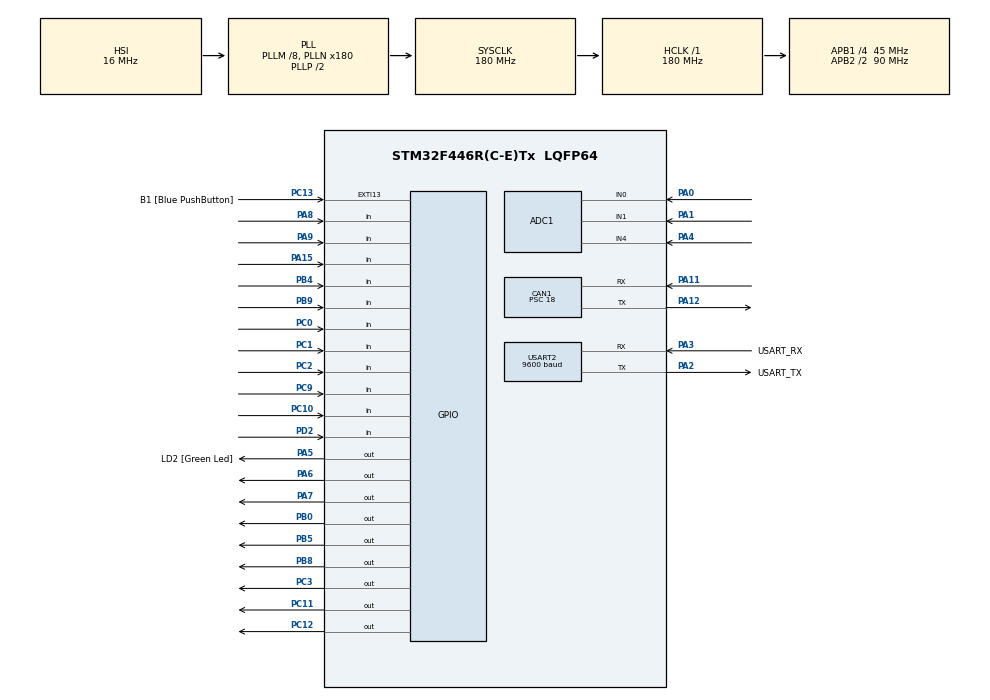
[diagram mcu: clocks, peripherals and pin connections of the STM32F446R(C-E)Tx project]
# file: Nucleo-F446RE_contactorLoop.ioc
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ADC1.Channel-0\#ChannelRegularConversion=ADC_CHANNEL_0
ADC1.Channel-1\#ChannelRegularConversion=ADC_CHANNEL_1
ADC1.Channel-2\#ChannelRegularConversion=ADC_CHANNEL_4
ADC1.NbrOfConversion=3
ADC1.NbrOfConversionFlag=1
ADC1.Rank-0\#ChannelRegularConversion=1
ADC1.Rank-1\#ChannelRegularConversion=2
ADC1.Rank-2\#ChannelRegularConversion=3
ADC1.SamplingTime-0\#ChannelRegularConversion=ADC_SAMPLETIME_3CYCLES
ADC1.SamplingTime-1\#ChannelRegularConversion=ADC_SAMPLETIME_3CYCLES
ADC1.SamplingTime-2\#ChannelRegularConversion=ADC_SAMPLETIME_3CYCLES
ADC1.master=1
CAN1.BS1=CAN_BS1_2TQ
CAN1.BS2=CAN_BS2_2TQ
CAN1.CalculateBaudRate=500000
CAN1.CalculateTimeBit=2000
CAN1.CalculateTimeQuantum=400.0
CAN1.Prescaler=18
Dma.ADC1.0.Direction=DMA_PERIPH_TO_MEMORY
Dma.ADC1.0.FIFOMode=DMA_FIFOMODE_DISABLE
Dma.ADC1.0.Instance=DMA2_Stream0
Dma.ADC1.0.MemDataAlignment=DMA_MDATAALIGN_HALFWORD
Dma.ADC1.0.MemInc=DMA_MINC_ENABLE
Dma.ADC1.0.Mode=DMA_CIRCULAR
Dma.ADC1.0.PeriphDataAlignment=DMA_PDATAALIGN_HALFWORD
Dma.ADC1.0.PeriphInc=DMA_PINC_DISABLE
Dma.ADC1.0.Priority=DMA_PRIORITY_LOW
Dma.Request0=ADC1
Mcu.Family=STM32F4
Mcu.Name=STM32F446R(C-E)Tx
Mcu.Package=LQFP64
NVIC.CAN1_RX0_IRQn=true\:0\:0\:false\:false\:true\:true\:true\:true
NVIC.DMA2_Stream0_IRQn=true\:0\:0\:false\:false\:true\:false\:true\:true
NVIC.PriorityGroup=NVIC_PRIORITYGROUP_0
PA0-WKUP.Signal=ADCx_IN0
PA1.Signal=ADCx_IN1
PA11.Mode=CAN_Activate
PA11.Signal=CAN1_RX
PA12.Mode=CAN_Activate
PA12.Signal=CAN1_TX
PA13.GPIO_Label=TMS
PA13.Mode=Serial_Wire
PA13.Signal=SYS_JTMS-SWDIO
PA14.GPIO_Label=TCK
PA14.Mode=Serial_Wire
PA14.Signal=SYS_JTCK-SWCLK
PA15.Signal=GPIO_Input
PA2.GPIO_Label=USART_TX
PA2.Mode=Asynchronous
PA2.Signal=USART2_TX
PA3.GPIO_Label=USART_RX
PA3.Mode=Asynchronous
PA3.Signal=USART2_RX
PA4.Signal=ADCx_IN4
PA5.GPIO_Label=LD2 [Green Led]
PA5.Signal=GPIO_Output
PA6.Signal=GPIO_Output
PA7.Signal=GPIO_Output
PA8.Signal=GPIO_Input
PA9.Signal=GPIO_Input
PB0.Signal=GPIO_Output
PB3.GPIO_Label=SWO
PB3.Signal=SYS_JTDO-SWO
PB4.Signal=GPIO_Input
PB5.Signal=GPIO_Output
PB8.Signal=GPIO_Output
PB9.Signal=GPIO_Input
PC0.Signal=GPIO_Input
PC1.Signal=GPIO_Input
PC10.Signal=GPIO_Input
PC11.Signal=GPIO_Output
PC12.Signal=GPIO_Output
PC13.GPIO_Label=B1 [Blue PushButton]
PC13.GPIO_ModeDefaultEXTI=GPIO_MODE_IT_FALLING
PC13.Signal=GPXTI13
PC14-OSC32_IN.Mode=LSE-External-Oscillator
PC14-OSC32_IN.Signal=RCC_OSC32_IN
PC15-OSC32_OUT.Mode=LSE-External-Oscillator
PC15-OSC32_OUT.Signal=RCC_OSC32_OUT
PC2.Signal=GPIO_Input
PC3.Signal=GPIO_Output
PC9.Signal=GPIO_Input
PD2.Signal=GPIO_Input
PH0-OSC_IN.Signal=RCC_OSC_IN
PH1-OSC_OUT.Signal=RCC_OSC_OUT
ProjectManager.HeapSize=0x200
ProjectManager.StackSize=0x400
ProjectManager.TargetToolchain=STM32CubeIDE
RCC.48MHZClocksFreq_Value=84000000
RCC.AHBFreq_Value=180000000
RCC.APB1CLKDivider=RCC_HCLK_DIV4
RCC.APB1Freq_Value=45000000
RCC.APB1TimFreq_Value=90000000
RCC.APB2CLKDivider=RCC_HCLK_DIV2
RCC.APB2Freq_Value=90000000
RCC.APB2TimFreq_Value=180000000
RCC.CortexFreq_Value=180000000
RCC.FLatency-AdvancedSettings=FLASH_LATENCY_5
RCC.HCLKFreq_Value=180000000
RCC.HSE_VALUE=8000000
RCC.HSI_VALUE=16000000
RCC.LSE_Drive_Capability=RCC_LSEDRIVE_LOW
RCC.LSE_Drive_CapabilityArg=RCC_LSEDRIVE_LOW
RCC.MSIAutoCalibration=ENABLED
RCC.MSICalibrationValue=0
RCC.PLLM=8
RCC.PLLN=180
RCC.SYSCLKFreq_VALUE=180000000
RCC.SYSCLKSource=RCC_SYSCLKSOURCE_PLLCLK
RCC.USBFreq_Value=180000000
RCC.VCOOutputFreq_Value=360000000
SH.ADCx_IN0.0=ADC1_IN0,IN0
SH.ADCx_IN1.0=ADC1_IN1,IN1
SH.ADCx_IN4.0=ADC1_IN4,IN4
USART2.BaudRate=9600
USART2.VirtualMode=VM_ASYNC
board=NUCLEO-F446RE

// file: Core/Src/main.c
/* USER CODE BEGIN Header */
/**
  ******************************************************************************
  * @file           : main.c
  * @brief          : Main program body
  ******************************************************************************
  * @attention
  *
  * Copyright (c) 2024 STMicroelectronics.
  * All rights reserved.
  *
  * This software is licensed under terms that can be found in the LICENSE file
  * in the root directory of this software component.
  * If no LICENSE file comes with this software, it is provided AS-IS.
  *
  ******************************************************************************
  */
/* USER CODE END Header */
#include "main.h"

/* USER CODE BEGIN Includes */
#include <stdio.h>
#include <stdbool.h>
/* USER CODE END Includes */

/* USER CODE BEGIN PTD */
// Debug (1) or Active (0) Mode
#define DEBUG					1

// Define Contactor GPIO and GPIO PINs
#define POS_LSD_OUTPUT_GPIO		GPIOB
#define POS_LSD_OUTPUT_PIN		GPIO_PIN_0
#define POS_LSD_INPUT_GPIO		GPIOC
#define POS_LSD_INPUT_PIN		GPIO_PIN_1

#define POS_HSD_OUTPUT_GPIO		GPIOC
#define POS_HSD_OUTPUT_PIN		GPIO_PIN_3
#define POS_HSD_INPUT_GPIO		GPIOC
#define POS_HSD_INPUT_PIN		GPIO_PIN_2

#define POS_CON_INPUT_GPIO		GPIOC
#define POS_CON_INPUT_PIN		GPIO_PIN_0

#define ANALOG_INPUT_GPIO		GPIOA
#define ANALOG_INPUT_PIN		GPIO_PIN_0

#define NEG_LSD_OUTPUT_GPIO		GPIOC
#define NEG_LSD_OUTPUT_PIN		GPIO_PIN_12
#define NEG_LSD_INPUT_GPIO		GPIOC
#define NEG_LSD_INPUT_PIN		GPIO_PIN_10

#define NEG_HSD_OUTPUT_GPIO		GPIOB
#define NEG_HSD_OUTPUT_PIN		GPIO_PIN_8
#define NEG_HSD_INPUT_GPIO		GPIOB
#define NEG_HSD_INPUT_PIN		GPIO_PIN_9

#define NEG_CON_INPUT_GPIO		GPIOA
#define NEG_CON_INPUT_PIN		GPIO_PIN_15

#define PRE_LSD_OUTPUT_GPIO		GPIOC
#define PRE_LSD_OUTPUT_PIN		GPIO_PIN_11
#define PRE_LSD_INPUT_GPIO		GPIOD
#define PRE_LSD_INPUT_PIN		GPIO_PIN_2

#define PRE_HSD_OUTPUT_GPIO		GPIOB
#define PRE_HSD_OUTPUT_PIN		GPIO_PIN_5
#define PRE_HSD_INPUT_GPIO		GPIOB
#define PRE_HSD_INPUT_PIN		GPIO_PIN_4

#define PRE_CON_INPUT_GPIO		GPIOC
#define PRE_CON_INPUT_PIN		GPIO_PIN_9

// Define Constants (Fault Conditions, Limits & Other Conditions)
#define SERIES_MOD				1	  // # of Modules in Series
#define SERIES_CELL				12    // # of Cells in Series
#define MAX_VOLT				4.20  // Maximum Voltage from a Cell
#define MIN_VOLT				2.85  // Minimum Voltage from a Cell
#define MIN_TEMP 				0     // Minimum (surface) Temperature of a cell
#define MAX_TEMP 				60    // Maximum (surface) Temperature of a cell
#define TSREF_ADC				5	  // Reference voltage for thermistor
#define TS_R1					10000 // Reference series resistance for themistor

const int8_t PRE_CHG_PACK_VOLT = 3; //SERIES_MOD * SERIES_CELL * MAX_VOLT;
const float known_resistance = 220.0; //10000.0;  // series resistance in Ohms for thermistor

// Define the Cell
typedef struct {
	// ID
    uint8_t module; // Module Number
    uint8_t cell;   // Cell Number

    // State Estimations
    uint32_t SOC; // State of Charge
    uint32_t SOH; // State of Health
    uint32_t SOP; // State of Power

    // Physics
    uint32_t V; // Voltage
    uint32_t I; // Current
    uint32_t T; // Temperature

    // Faults
    bool power_rail;
    bool comm;
    bool over_voltage;
    bool under_voltage;
    bool over_temp;
    bool under_temp;
    bool over_current;
    bool under_current;
} Cell;

typedef enum {
    POWER_RAIL_FAULT = 1 << 7,
    COMM_FAULT = 1 << 6,
    OVER_VOLTAGE_FAULT = 1 << 5,
    UNDER_VOLTAGE_FAULT = 1 << 4,
    OVER_TEMP_FAULT = 1 << 3,
    UNDER_TEMP_FAULT = 1 << 2,
    OVER_CURRENT_FAULT = 1 << 1,
    UNDER_CURRENT_FAULT = 1
} CellFault;
/* USER CODE END PTD */

/* USER CODE BEGIN PD */
uint16_t getCellFaults(Cell* cell){
    uint16_t result = 0;

    // Get the lower 4 bits of module and cell
    result |= (cell->module & 0x0F) << 12;
    result |= (cell->cell & 0x0F) << 8;

    // Concatenate all the booleans
    result |= (cell->power_rail & 0x01) << 7;
    result |= (cell->comm & 0x01) << 6;
    result |= (cell->over_voltage & 0x01) << 5;
    result |= (cell->under_voltage & 0x01) << 4;
    result |= (cell->over_temp & 0x01) << 3;
    result |= (cell->under_temp & 0x01) << 2;
    result |= (cell->over_current & 0x01) << 1;
    result |= (cell->under_current & 0x01);

    return result;
}

void setCellFaults(Cell* cell, CellFault value) {
    // Extract the boolean values
    if (value & POWER_RAIL_FAULT) cell->power_rail = true;
    if (value & COMM_FAULT) cell->comm = true;
    if (value & OVER_VOLTAGE_FAULT) cell->over_voltage = true;
    if (value & UNDER_VOLTAGE_FAULT) cell->under_voltage = true;
    if (value & OVER_TEMP_FAULT) cell->over_temp = true;
    if (value & UNDER_TEMP_FAULT) cell->under_temp = true;
    if (value & OVER_CURRENT_FAULT) cell->over_current = true;
    if (value & UNDER_CURRENT_FAULT) cell->under_current = true;
}

void clearCellFault(Cell* cell, CellFault fault) {
    // Clear the corresponding fault
    switch (fault) {
        case POWER_RAIL_FAULT:
            cell->power_rail = false;
            break;
        case COMM_FAULT:
            cell->comm = false;
            break;
        case OVER_VOLTAGE_FAULT:
            cell->over_voltage = false;
            break;
        case UNDER_VOLTAGE_FAULT:
            cell->under_voltage = false;
            break;
        case OVER_TEMP_FAULT:
            cell->over_temp = false;
            break;
        case UNDER_TEMP_FAULT:
            cell->under_temp = false;
            break;
        case OVER_CURRENT_FAULT:
            cell->over_current = false;
            break;
        case UNDER_CURRENT_FAULT:
            cell->under_current = false;
            break;
    }
}

/* USER CODE END PD */

ADC_HandleTypeDef hadc1;
DMA_HandleTypeDef hdma_adc1;

CAN_HandleTypeDef hcan1;

UART_HandleTypeDef huart2;

void SystemClock_Config(void);
static void MX_GPIO_Init(void);
static void MX_DMA_Init(void);
static void MX_USART2_UART_Init(void);
static void MX_ADC1_Init(void);
static void MX_CAN1_Init(void);

/* USER CODE BEGIN 0 */
CAN_TxHeaderTypeDef TxHeader;
CAN_RxHeaderTypeDef RxHeader;

uint8_t TxData[8];
uint8_t RxData[8];

uint32_t TxMailbox;

uint16_t cell_analog_values[3];
char msg[30];  // message box for analog values

float pre_charge_voltage; 	 // Measurement for startupSequence
float cell_voltage; 	  	 // Measurement for checkVIT
float cell_current; 	  	 // Calculated current from checkVIT
float thermistor_resistance; // Calculated unknown resistance from checkVIT
float cell_vref; 			 // measurement voltage for vref
float soc; 					 // State of Charge
float sop; 					 // State of Power

int startupSequence(void){

	//
	// Negative Contactor Enable
	//

	// Send high Signal to NEG_LSD_OUTPUT
	HAL_GPIO_WritePin(NEG_LSD_OUTPUT_GPIO, NEG_LSD_OUTPUT_PIN, 1);

	// Read NEG_LSD_INPUT
		// If high, proceed, else EPO/return -1
		if (!HAL_GPIO_ReadPin(NEG_LSD_INPUT_GPIO, NEG_LSD_INPUT_PIN)){ return -1; }

	// Send high Signal to NEG_HSD_OUTPUT
	HAL_GPIO_WritePin(NEG_HSD_OUTPUT_GPIO, NEG_HSD_OUTPUT_PIN, 1);

	// Read NEG_HSD_INPUT
		// If high, proceed, else EPO/return -1
		if (!HAL_GPIO_ReadPin(NEG_LSD_INPUT_GPIO, NEG_LSD_INPUT_PIN)){ return -1; }

	// Read NEG_CON_OUTPUT
		// If connected (low for nand, high for and, between HSD and LSD), proceed, else EPO/return -1
		if (HAL_GPIO_ReadPin(NEG_CON_INPUT_GPIO, NEG_CON_INPUT_PIN)){ return -1; }

	//
	// Pre Charge Contactor Enable
	//

	// Send high Signal to PRE_LSD_OUTPUT
	HAL_GPIO_WritePin(PRE_LSD_OUTPUT_GPIO, PRE_LSD_OUTPUT_PIN, 1);

	// Read PRE_LSD_INPUT
		// If high, proceed, else EPO/return -1
		if (!HAL_GPIO_ReadPin(PRE_LSD_INPUT_GPIO, PRE_LSD_INPUT_PIN)){ return -1; }

	// Send high Signal to PRE_HSD_OUTPUT
	HAL_GPIO_WritePin(PRE_HSD_OUTPUT_GPIO, PRE_HSD_OUTPUT_PIN, 1);

	// Read PRE_HSD_INPUT
		// If high, proceed, else EPO/return -1
		if (!HAL_GPIO_ReadPin(PRE_HSD_INPUT_GPIO, PRE_HSD_INPUT_PIN)){ return -1; }

	// Read PRE_CON_OUTPUT
		// If connected (low for nand, high for and, between HSD and LSD), proceed, else EPO/return 0
		if (HAL_GPIO_ReadPin(PRE_CON_INPUT_GPIO, PRE_CON_INPUT_PIN)){ return -1; }

	// Read voltage at ANALOG_INPUT
		// If 90% of pack voltage after time t proceed, else EPO/return -1
		while (pre_charge_voltage < PRE_CHG_PACK_VOLT) {
		    HAL_ADC_Start_DMA(&hadc1,(uint32_t *) cell_analog_values, 3); // Start Analog to Digital conversion
		    HAL_ADC_PollForConversion(&hadc1, 1000);					 // Poll Value Read
		    pre_charge_voltage = (float)cell_analog_values[0]/1000;   // Store Value in (mV) form (V)

		    // Convert the integer part to a hexadecimal string
		    uint16_t intPart = (uint16_t)pre_charge_voltage;
		    char IntPartStr[3];
		    sprintf(IntPartStr, "%02X", intPart);

		    // Convert the fractional part to a hexadecimal string
		    uint16_t fracPart = (uint16_t)((pre_charge_voltage - intPart) * 100);
		    char FracPartStr[3];
		    sprintf(FracPartStr, "%02X", fracPart);

		    // Write to UART Over Temp Fault in the desired format
		    char ResultStr[8];
		    sprintf(ResultStr, "%s.%s\r\n", IntPartStr, FracPartStr);
		    HAL_UART_Transmit(&huart2, (uint8_t*)ResultStr, sizeof(ResultStr), 100);

		    // Delay for debug
		    HAL_Delay(1000);
		}

	//
	// Positive Contactor Enable
	//

	// Send high Signal to POS_LSD_OUTPUT
	HAL_GPIO_WritePin(POS_LSD_OUTPUT_GPIO, POS_LSD_OUTPUT_PIN, 1);

	// Read POS_LSD_INPUT
		// If high, proceed, else EPO/return -1
		if (!HAL_GPIO_ReadPin(POS_LSD_INPUT_GPIO, POS_LSD_INPUT_PIN)){ return -1; }

	// Send high Signal to POS_HSD_OUTPUT
	HAL_GPIO_WritePin(POS_HSD_OUTPUT_GPIO, POS_HSD_OUTPUT_PIN, 1);

	// Read POS_HSD_INPUT
		// If high, proceed, else EPO/return -1
		if (!HAL_GPIO_ReadPin(POS_HSD_INPUT_GPIO, POS_HSD_INPUT_PIN)){ return -1; }

	// Read POS_CON_OUTPUT
		// If connected (low for nand, high for and, between HSD and LSD), proceed, else EPO/return 0
		if (HAL_GPIO_ReadPin(POS_CON_INPUT_GPIO, POS_CON_INPUT_PIN)){ return -1; }

	//
	// Pre Charge Contactor Disable
	//

	// Send low Signal to PRE_HSD_OUTPUT
	HAL_GPIO_WritePin(PRE_HSD_OUTPUT_GPIO, PRE_HSD_OUTPUT_PIN, 0);

	// Read PRE_HSD_INPUT
		// If low, proceed, else EPO/return -1
		if (HAL_GPIO_ReadPin(PRE_HSD_INPUT_GPIO, PRE_HSD_INPUT_PIN)){ return -1; }

	// Send low Signal to PRE_LSD_OUTPUT
	HAL_GPIO_WritePin(PRE_LSD_OUTPUT_GPIO, PRE_LSD_OUTPUT_PIN, 0);

	// Read PRE_LSD_INPUT
		// If low, proceed, else EPO/return -1
		if (HAL_GPIO_ReadPin(PRE_LSD_INPUT_GPIO, PRE_LSD_INPUT_PIN)){ return -1; }

	// Read PRE_CON_OUTPUT
		// If connected (low for nand, high for and, between HSD and LSD), proceed, else EPO/return 0
		if (!HAL_GPIO_ReadPin(PRE_CON_INPUT_GPIO, PRE_CON_INPUT_PIN)){ return -1; }

	// Start-up Sequence Concluded Successfully
	return 0;
}

void checkStatusTransmit(Cell* cell){

	// append id, mod and cell number to sensor reading
    HAL_ADC_Start_DMA(&hadc1,(uint32_t *) cell_analog_values, 3); // Start Analog to Digital conversion
	HAL_ADC_PollForConversion(&hadc1, 1000);					 // Poll Value Read
	cell_voltage = (float)cell_analog_values[1]/1000;   // Store Value in (mV) form (V)
	cell_vref = (float)cell_analog_values[2]/1000;

	// calculate I = cell_voltage / known R
	cell_current = cell_voltage / known_resistance;

	// calculate thermistor R = (Vref - V) /I
	thermistor_resistance = (cell_vref - cell_voltage) / cell_current;

	// Convert module number to hex
	uint16_t mod_num = (uint16_t)cell->module;
	char mod_numStr[2];
	sprintf(mod_numStr, "%1X", mod_num);

	// Convert cell number to hex
	uint16_t cell_num = (uint16_t)cell->cell;
	char cell_numStr[2];
	sprintf(cell_numStr, "%1X", cell_num);

    // Get the Cell Faults
	uint16_t Fault;
    Fault = getCellFaults(cell);

    // Convert the result to a hexadecimal string
    char FaultStr[5]; // Buffer to hold the result string
    sprintf(FaultStr, "%04X", Fault);

	// Write to UART
	char FaultResultStr[7];
	sprintf(FaultResultStr, "7%s\r\n", FaultStr);
	HAL_UART_Transmit(&huart2, (uint8_t*)FaultResultStr, sizeof(FaultResultStr), 100);

	// Convert the integer part to a hexadecimal string
	uint16_t intPart = (uint16_t)cell_voltage;
	char IntPartStr[3];
	sprintf(IntPartStr, "%02X", intPart);

	// Convert the fractional part to a hexadecimal string
	uint16_t fracPart = (uint16_t)((cell_voltage - intPart) * 100);
	char FracPartStr[3];
	sprintf(FracPartStr, "%02X", fracPart);

	// Write to UART
	char ResultStr[11];
	sprintf(ResultStr, "1%s%s%s.%s\r\n", mod_numStr, cell_numStr, IntPartStr, FracPartStr);
	HAL_UART_Transmit(&huart2, (uint8_t*)ResultStr, sizeof(ResultStr), 100);

	// Convert the integer part to a hexadecimal string
	intPart = (uint16_t)cell_current;
	sprintf(IntPartStr, "%02X", intPart);

	// Convert the fractional part to a hexadecimal string
	fracPart = (uint16_t)((cell_current - intPart) * 100);
	sprintf(FracPartStr, "%02X", fracPart);

	// Write to UART
	sprintf(ResultStr, "2%s%s%s.%s\r\n", mod_numStr, cell_numStr, IntPartStr, FracPartStr);
	HAL_UART_Transmit(&huart2, (uint8_t*)ResultStr, sizeof(ResultStr), 100);

	// TODO: determine temp based off linear eq of degrees vs ohms
	// Convert the integer part to a hexadecimal string
	intPart = (uint16_t)thermistor_resistance;
	sprintf(IntPartStr, "%02X", intPart);

	// Convert the fractional part to a hexadecimal string
	fracPart = (uint16_t)((thermistor_resistance - intPart) * 100);
	sprintf(FracPartStr, "%02X", fracPart);

	// Write to UART
	sprintf(ResultStr, "3%s%s%s.%s\r\n", mod_numStr, cell_numStr, IntPartStr, FracPartStr);
	HAL_UART_Transmit(&huart2, (uint8_t*)ResultStr, sizeof(ResultStr), 100);

	// TODO: send V and I to the model to get (5) SOC and (6) SOP
	// TODO: Transfer inference functions here to get SOC

	// Convert the integer part to a hexadecimal string
	intPart = (uint16_t)soc;
	sprintf(IntPartStr, "%02X", intPart);

	// Convert the fractional part to a hexadecimal string
	fracPart = (uint16_t)((soc - intPart) * 100);
	sprintf(FracPartStr, "%02X", fracPart);

	// Write to UART
	sprintf(ResultStr, "5%s%s%s.%s\r\n", mod_numStr, cell_numStr, IntPartStr, FracPartStr);
	HAL_UART_Transmit(&huart2, (uint8_t*)ResultStr, sizeof(ResultStr), 100);

	// TODO: Figure out how to calculate SOP

	// Convert the integer part to a hexadecimal string
	intPart = (uint16_t)sop;
	sprintf(IntPartStr, "%02X", intPart);

	// Convert the fractional part to a hexadecimal string
	fracPart = (uint16_t)((sop - intPart) * 100);
	sprintf(FracPartStr, "%02X", fracPart);

	// Write to UART
	sprintf(ResultStr, "6%s%s%s.%s\r\n", mod_numStr, cell_numStr, IntPartStr, FracPartStr);
	HAL_UART_Transmit(&huart2, (uint8_t*)ResultStr, sizeof(ResultStr), 100);

	// Delay for debug
	HAL_Delay(1000);

	return 0;
}

/* USER CODE END 0 */

int main(void)
{

  /* MCU Configuration--------------------------------------------------------*/

  /* Reset of all peripherals, Initializes the Flash interface and the Systick. */
  HAL_Init();

  /* USER CODE BEGIN Init */
  // Fault
  uint16_t Fault;

	// Define the Cell
  Cell cell0 = {
	.module = 1, // Module Number
	.cell = 2,   // Cell Number
	.SOC = 0, // State of Charge
	.SOH = 0, // State of Health
	.SOP = 0, // State of Power
	.V = 0, // Voltage
	.I = 0, // Current
	.T = 0, // Temperature
	.power_rail = false,
	.comm = false,
	.over_voltage = false,
	.under_voltage = false,
	.over_temp = false,
	.under_temp = false,
	.over_current = false,
	.under_current = false
	};

  /* USER CODE END Init */

  /* Configure the system clock */
  SystemClock_Config();

  /* Initialize all configured peripherals */
  MX_GPIO_Init();
  MX_DMA_Init();
  MX_USART2_UART_Init();
  MX_ADC1_Init();
  MX_CAN1_Init();
  /* USER CODE BEGIN 2 */
  HAL_CAN_Start(&hcan1);

  // Activate the notification
  HAL_CAN_ActivateNotification(&hcan1, CAN_IT_RX_FIFO0_MSG_PENDING);

  TxHeader.DLC = 2; // data length
  TxHeader.IDE = CAN_ID_STD;
  TxHeader.RTR = CAN_RTR_DATA;
  TxHeader.StdId = 0x446; // ID

  // Initializing
  HAL_GPIO_WritePin(GPIOA, GPIO_PIN_5, 1);
  HAL_Delay(1000);
  HAL_GPIO_WritePin(GPIOA, GPIO_PIN_5, 0);

  int success;
  success = startupSequence();

  if (success == -1) { HAL_GPIO_WritePin(GPIOA, GPIO_PIN_5, 1); }
  /* USER CODE END 2 */

  /* Infinite loop */
  while (1)
  {

    /* USER CODE BEGIN 3 */
	  // TODO: loop through every cell in the pack for every module
	  checkStatusTransmit(&cell0);

	  if (HAL_GPIO_ReadPin(GPIOA, GPIO_PIN_9) && !HAL_GPIO_ReadPin(GPIOA, GPIO_PIN_8)){
		  // Turn ON LED
		  HAL_GPIO_WritePin(GPIOA, GPIO_PIN_6, 1);
		  HAL_Delay(100);

		  // Set the Cell Over Temp Fault
		  setCellFaults(&cell0, OVER_TEMP_FAULT);

		  // Get the Cell Over Temp Fault
		  Fault = getCellFaults(&cell0);

		  // Convert the result to a hexadecimal string
		  char FaultStr[6]; // Buffer to hold the result string
		  sprintf(FaultStr, "%05X", Fault);

		  // Write to CAN Over Temp Fault
		  HAL_CAN_AddTxMessage(&hcan1, &TxHeader, FaultStr, &TxMailbox);

		  // Clear the Cell Over Current Fault
		  clearCellFault(&cell0, OVER_CURRENT_FAULT);

		  // Turn OFF LED
		  HAL_GPIO_WritePin(GPIOA, GPIO_PIN_6, 0);
	  }

	  if (HAL_GPIO_ReadPin(GPIOA, GPIO_PIN_8) && !HAL_GPIO_ReadPin(GPIOA, GPIO_PIN_9)){
		  // Turn ON LED
		  HAL_GPIO_WritePin(GPIOA, GPIO_PIN_7, 1);
		  HAL_Delay(100);

		  // Set the Cell Over Current Fault
		  setCellFaults(&cell0, OVER_CURRENT_FAULT);

		  // Get the Cell Over Current Fault
		  Fault = getCellFaults(&cell0);

		  // Convert the result to a hexadecimal string
		  char FaultStr[6]; // Buffer to hold the result string
		  sprintf(FaultStr, "%05X", Fault);

		  // Write to CAN Over Current Fault
		  HAL_CAN_AddTxMessage(&hcan1, &TxHeader, FaultStr, &TxMailbox);

		  // Clear the Cell Over Temp Fault
		  clearCellFault(&cell0, OVER_TEMP_FAULT);

		  // Turn OFF LED
		  HAL_GPIO_WritePin(GPIOA, GPIO_PIN_7, 0);
	  }

  }
  /* USER CODE END 3 */
}

void SystemClock_Config(void)
{
  RCC_OscInitTypeDef RCC_OscInitStruct = {0};
  RCC_ClkInitTypeDef RCC_ClkInitStruct = {0};

  /** Configure the main internal regulator output voltage
  */
  __HAL_RCC_PWR_CLK_ENABLE();
  __HAL_PWR_VOLTAGESCALING_CONFIG(PWR_REGULATOR_VOLTAGE_SCALE1);

  /** Initializes the RCC Oscillators according to the specified parameters
  * in the RCC_OscInitTypeDef structure.
  */
  RCC_OscInitStruct.OscillatorType = RCC_OSCILLATORTYPE_HSI;
  RCC_OscInitStruct.HSIState = RCC_HSI_ON;
  RCC_OscInitStruct.HSICalibrationValue = RCC_HSICALIBRATION_DEFAULT;
  RCC_OscInitStruct.PLL.PLLState = RCC_PLL_ON;
  RCC_OscInitStruct.PLL.PLLSource = RCC_PLLSOURCE_HSI;
  RCC_OscInitStruct.PLL.PLLM = 8;
  RCC_OscInitStruct.PLL.PLLN = 180;
  RCC_OscInitStruct.PLL.PLLP = RCC_PLLP_DIV2;
  RCC_OscInitStruct.PLL.PLLQ = 2;
  RCC_OscInitStruct.PLL.PLLR = 2;
  if (HAL_RCC_OscConfig(&RCC_OscInitStruct) != HAL_OK)
  {
    Error_Handler();
  }

  /** Activate the Over-Drive mode
  */
  if (HAL_PWREx_EnableOverDrive() != HAL_OK)
  {
    Error_Handler();
  }

  /** Initializes the CPU, AHB and APB buses clocks
  */
  RCC_ClkInitStruct.ClockType = RCC_CLOCKTYPE_HCLK|RCC_CLOCKTYPE_SYSCLK
                              |RCC_CLOCKTYPE_PCLK1|RCC_CLOCKTYPE_PCLK2;
  RCC_ClkInitStruct.SYSCLKSource = RCC_SYSCLKSOURCE_PLLCLK;
  RCC_ClkInitStruct.AHBCLKDivider = RCC_SYSCLK_DIV1;
  RCC_ClkInitStruct.APB1CLKDivider = RCC_HCLK_DIV4;
  RCC_ClkInitStruct.APB2CLKDivider = RCC_HCLK_DIV2;

  if (HAL_RCC_ClockConfig(&RCC_ClkInitStruct, FLASH_LATENCY_5) != HAL_OK)
  {
    Error_Handler();
  }
}

static void MX_ADC1_Init(void)
{

  ADC_ChannelConfTypeDef sConfig = {0};

  /** Configure the global features of the ADC (Clock, Resolution, Data Alignment and number of conversion)
  */
  hadc1.Instance = ADC1;
  hadc1.Init.ClockPrescaler = ADC_CLOCK_SYNC_PCLK_DIV4;
  hadc1.Init.Resolution = ADC_RESOLUTION_12B;
  hadc1.Init.ScanConvMode = ENABLE;
  hadc1.Init.ContinuousConvMode = DISABLE;
  hadc1.Init.DiscontinuousConvMode = DISABLE;
  hadc1.Init.ExternalTrigConvEdge = ADC_EXTERNALTRIGCONVEDGE_NONE;
  hadc1.Init.ExternalTrigConv = ADC_SOFTWARE_START;
  hadc1.Init.DataAlign = ADC_DATAALIGN_RIGHT;
  hadc1.Init.NbrOfConversion = 3;
  hadc1.Init.DMAContinuousRequests = DISABLE;
  hadc1.Init.EOCSelection = ADC_EOC_SINGLE_CONV;
  if (HAL_ADC_Init(&hadc1) != HAL_OK)
  {
    Error_Handler();
  }

  /** Configure for the selected ADC regular channel its corresponding rank in the sequencer and its sample time.
  */
  sConfig.Channel = ADC_CHANNEL_0;
  sConfig.Rank = 1;
  sConfig.SamplingTime = ADC_SAMPLETIME_3CYCLES;
  if (HAL_ADC_ConfigChannel(&hadc1, &sConfig) != HAL_OK)
  {
    Error_Handler();
  }

  /** Configure for the selected ADC regular channel its corresponding rank in the sequencer and its sample time.
  */
  sConfig.Channel = ADC_CHANNEL_1;
  sConfig.Rank = 2;
  if (HAL_ADC_ConfigChannel(&hadc1, &sConfig) != HAL_OK)
  {
    Error_Handler();
  }

  /** Configure for the selected ADC regular channel its corresponding rank in the sequencer and its sample time.
  */
  sConfig.Channel = ADC_CHANNEL_4;
  sConfig.Rank = 3;
  if (HAL_ADC_ConfigChannel(&hadc1, &sConfig) != HAL_OK)
  {
    Error_Handler();
  }

}

static void MX_CAN1_Init(void)
{

  hcan1.Instance = CAN1;
  hcan1.Init.Prescaler = 18;
  hcan1.Init.Mode = CAN_MODE_NORMAL;
  hcan1.Init.SyncJumpWidth = CAN_SJW_1TQ;
  hcan1.Init.TimeSeg1 = CAN_BS1_2TQ;
  hcan1.Init.TimeSeg2 = CAN_BS2_2TQ;
  hcan1.Init.TimeTriggeredMode = DISABLE;
  hcan1.Init.AutoBusOff = DISABLE;
  hcan1.Init.AutoWakeUp = DISABLE;
  hcan1.Init.AutoRetransmission = DISABLE;
  hcan1.Init.ReceiveFifoLocked = DISABLE;
  hcan1.Init.TransmitFifoPriority = DISABLE;
  if (HAL_CAN_Init(&hcan1) != HAL_OK)
  {
    Error_Handler();
  }
  /* USER CODE BEGIN CAN1_Init 2 */
  CAN_FilterTypeDef canfilterconfig;

  canfilterconfig.FilterActivation = CAN_FILTER_ENABLE;
  canfilterconfig.FilterBank = 18;  // which filter bank to use from the assigned ones
  canfilterconfig.FilterFIFOAssignment = CAN_FILTER_FIFO0;
  canfilterconfig.FilterIdHigh = 0x103<<5; // ID of external ECU
  canfilterconfig.FilterIdLow = 0;
  canfilterconfig.FilterMaskIdHigh = 0x103<<5;
  canfilterconfig.FilterMaskIdLow = 0x0000;
  canfilterconfig.FilterMode = CAN_FILTERMODE_IDMASK;
  canfilterconfig.FilterScale = CAN_FILTERSCALE_32BIT;
  canfilterconfig.SlaveStartFilterBank = 20;  // how many filters to assign to the CAN1 (master can)

  HAL_CAN_ConfigFilter(&hcan1, &canfilterconfig);
  /* USER CODE END CAN1_Init 2 */

}

static void MX_USART2_UART_Init(void)
{

  huart2.Instance = USART2;
  huart2.Init.BaudRate = 9600;
  huart2.Init.WordLength = UART_WORDLENGTH_8B;
  huart2.Init.StopBits = UART_STOPBITS_1;
  huart2.Init.Parity = UART_PARITY_NONE;
  huart2.Init.Mode = UART_MODE_TX_RX;
  huart2.Init.HwFlowCtl = UART_HWCONTROL_NONE;
  huart2.Init.OverSampling = UART_OVERSAMPLING_16;
  if (HAL_UART_Init(&huart2) != HAL_OK)
  {
    Error_Handler();
  }

}

static void MX_DMA_Init(void)
{

  /* DMA controller clock enable */
  __HAL_RCC_DMA2_CLK_ENABLE();

  /* DMA interrupt init */
  /* DMA2_Stream0_IRQn interrupt configuration */
  HAL_NVIC_SetPriority(DMA2_Stream0_IRQn, 0, 0);
  HAL_NVIC_EnableIRQ(DMA2_Stream0_IRQn);

}

static void MX_GPIO_Init(void)
{
  GPIO_InitTypeDef GPIO_InitStruct = {0};

  /* GPIO Ports Clock Enable */
  __HAL_RCC_GPIOC_CLK_ENABLE();
  __HAL_RCC_GPIOH_CLK_ENABLE();
  __HAL_RCC_GPIOA_CLK_ENABLE();
  __HAL_RCC_GPIOB_CLK_ENABLE();
  __HAL_RCC_GPIOD_CLK_ENABLE();

  /*Configure GPIO pin Output Level */
  HAL_GPIO_WritePin(GPIOC, GPIO_PIN_3|GPIO_PIN_11|GPIO_PIN_12, GPIO_PIN_RESET);

  /*Configure GPIO pin Output Level */
  HAL_GPIO_WritePin(GPIOA, LD2_Pin|GPIO_PIN_6|GPIO_PIN_7, GPIO_PIN_RESET);

  /*Configure GPIO pin Output Level */
  HAL_GPIO_WritePin(GPIOB, GPIO_PIN_0|GPIO_PIN_5|GPIO_PIN_8, GPIO_PIN_RESET);

  /*Configure GPIO pin : B1_Pin */
  GPIO_InitStruct.Pin = B1_Pin;
  GPIO_InitStruct.Mode = GPIO_MODE_IT_FALLING;
  GPIO_InitStruct.Pull = GPIO_NOPULL;
  HAL_GPIO_Init(B1_GPIO_Port, &GPIO_InitStruct);

  /*Configure GPIO pins : PC0 PC1 PC2 PC9
                           PC10 */
  GPIO_InitStruct.Pin = GPIO_PIN_0|GPIO_PIN_1|GPIO_PIN_2|GPIO_PIN_9
                          |GPIO_PIN_10;
  GPIO_InitStruct.Mode = GPIO_MODE_INPUT;
  GPIO_InitStruct.Pull = GPIO_NOPULL;
  HAL_GPIO_Init(GPIOC, &GPIO_InitStruct);

  /*Configure GPIO pins : PC3 PC11 PC12 */
  GPIO_InitStruct.Pin = GPIO_PIN_3|GPIO_PIN_11|GPIO_PIN_12;
  GPIO_InitStruct.Mode = GPIO_MODE_OUTPUT_PP;
  GPIO_InitStruct.Pull = GPIO_NOPULL;
  GPIO_InitStruct.Speed = GPIO_SPEED_FREQ_LOW;
  HAL_GPIO_Init(GPIOC, &GPIO_InitStruct);

  /*Configure GPIO pins : LD2_Pin PA6 PA7 */
  GPIO_InitStruct.Pin = LD2_Pin|GPIO_PIN_6|GPIO_PIN_7;
  GPIO_InitStruct.Mode = GPIO_MODE_OUTPUT_PP;
  GPIO_InitStruct.Pull = GPIO_NOPULL;
  GPIO_InitStruct.Speed = GPIO_SPEED_FREQ_LOW;
  HAL_GPIO_Init(GPIOA, &GPIO_InitStruct);

  /*Configure GPIO pins : PB0 PB5 PB8 */
  GPIO_InitStruct.Pin = GPIO_PIN_0|GPIO_PIN_5|GPIO_PIN_8;
  GPIO_InitStruct.Mode = GPIO_MODE_OUTPUT_PP;
  GPIO_InitStruct.Pull = GPIO_NOPULL;
  GPIO_InitStruct.Speed = GPIO_SPEED_FREQ_LOW;
  HAL_GPIO_Init(GPIOB, &GPIO_InitStruct);

  /*Configure GPIO pins : PA8 PA9 PA15 */
  GPIO_InitStruct.Pin = GPIO_PIN_8|GPIO_PIN_9|GPIO_PIN_15;
  GPIO_InitStruct.Mode = GPIO_MODE_INPUT;
  GPIO_InitStruct.Pull = GPIO_NOPULL;
  HAL_GPIO_Init(GPIOA, &GPIO_InitStruct);

  /*Configure GPIO pin : PD2 */
  GPIO_InitStruct.Pin = GPIO_PIN_2;
  GPIO_InitStruct.Mode = GPIO_MODE_INPUT;
  GPIO_InitStruct.Pull = GPIO_NOPULL;
  HAL_GPIO_Init(GPIOD, &GPIO_InitStruct);

  /*Configure GPIO pins : PB4 PB9 */
  GPIO_InitStruct.Pin = GPIO_PIN_4|GPIO_PIN_9;
  GPIO_InitStruct.Mode = GPIO_MODE_INPUT;
  GPIO_InitStruct.Pull = GPIO_NOPULL;
  HAL_GPIO_Init(GPIOB, &GPIO_InitStruct);

}

void Error_Handler(void)
{
  __disable_irq();
  while (1)
  {
  }
}
